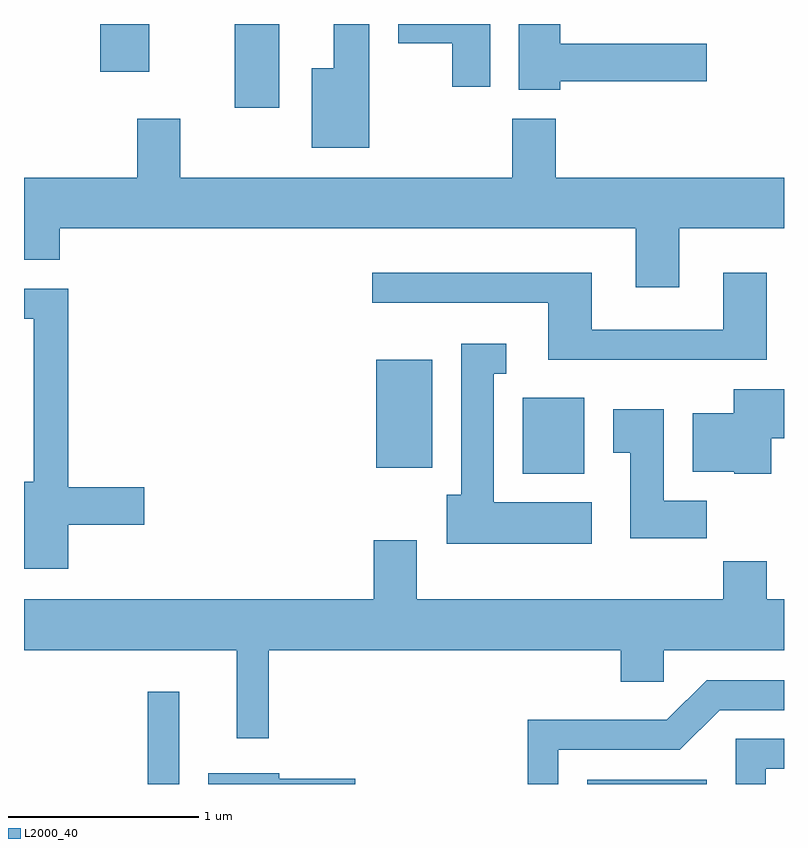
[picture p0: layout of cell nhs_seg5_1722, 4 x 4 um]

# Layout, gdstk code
import gdstk
lib = gdstk.Library(unit=1e-6, precision=1e-09)
def R(c, l, rs):  # rectangles x0, y0, x1, y1
    for r in rs: c.add(gdstk.rectangle(r[:2], r[2:], *l))
def P(c, l, *ps):  # polygons
    for p in ps: c.add(gdstk.Polygon(p, *l))
L2000_40 = (2000, 40)

nhs_seg5_1722 = lib.new_cell('nhs_seg5_1722')
R(nhs_seg5_1722, L2000_40, [(236.261,1476.072,236.429,1476.558), (238.576,1476.072,239.204,1476.094), (238.236,1477.706,238.559,1478.104), (237.466,1477.736,237.759,1478.304), (236.721,1479.631,236.954,1480.072), (236.011,1479.821,236.269,1480.072)])
P(nhs_seg5_1722, L2000_40, [(238.434,1479.771),(239.204,1479.771),(239.204,1479.969),(238.434,1479.969),(238.434,1480.072),(238.216,1480.072),(238.216,1479.726),(238.434,1479.726)],
  [(237.429,1480.072),(237.241,1480.072),(237.241,1479.839),(237.126,1479.839),(237.126,1479.421),(237.429,1479.421)],
  [(238.064,1480.072),(237.581,1480.072),(237.581,1479.971),(237.866,1479.971),(237.866,1479.741),(238.064,1479.741)],
  [(239.059,1478.996),(239.611,1478.996),(239.611,1479.264),(238.409,1479.264),(238.409,1479.574),(238.181,1479.574),(238.181,1479.264),(236.434,1479.264),(236.434,1479.574),(236.206,1479.574),(236.206,1479.264),(235.611,1479.264),(235.611,1478.831),(235.799,1478.831),(235.799,1478.996),(238.831,1478.996),(238.831,1478.686),(239.059,1478.686)],
  [(239.519,1478.764),(239.291,1478.764),(239.291,1478.464),(238.599,1478.464),(238.599,1478.764),(237.443,1478.764),(237.443,1478.606),(238.371,1478.606),(238.371,1478.306),(239.519,1478.306)],
  [(235.844,1477.436),(236.244,1477.436),(236.244,1477.634),(235.844,1477.634),(235.844,1478.679),(235.611,1478.679),(235.611,1478.521),(235.661,1478.521),(235.661,1477.664),(235.611,1477.664),(235.611,1477.206),(235.844,1477.206)],
  [(238.599,1477.554),(238.084,1477.554),(238.084,1478.231),(238.148,1478.231),(238.148,1478.389),(237.911,1478.389),(237.911,1477.594),(237.836,1477.594),(237.836,1477.336),(238.599,1477.336)],
  [(239.544,1477.891),(239.611,1477.891),(239.611,1478.149),(239.346,1478.149),(239.346,1478.024),(239.131,1478.024),(239.131,1477.716),(239.35,1477.716),(239.35,1477.706),(239.544,1477.706)],
  [(239.204,1477.564),(238.979,1477.564),(238.979,1478.044),(238.711,1478.044),(238.711,1477.816),(238.801,1477.816),(238.801,1477.366),(239.204,1477.366)],
  [(236.899,1476.776),(238.751,1476.776),(238.751,1476.611),(238.979,1476.611),(238.979,1476.776),(239.611,1476.776),(239.611,1477.044),(239.519,1477.044),(239.519,1477.244),(239.291,1477.244),(239.291,1477.044),(237.679,1477.044),(237.679,1477.354),(237.451,1477.354),(237.451,1477.044),(235.611,1477.044),(235.611,1476.776),(236.731,1476.776),(236.731,1476.313),(236.899,1476.313)],
  [(238.424,1476.251),(239.062,1476.251),(239.272,1476.461),(239.611,1476.461),(239.611,1476.619),(239.204,1476.619),(238.994,1476.409),(238.261,1476.409),(238.261,1476.072),(238.424,1476.072)],
  [(239.514,1476.151),(239.611,1476.151),(239.611,1476.309),(239.356,1476.309),(239.356,1476.072),(239.514,1476.072)],
  [(237.354,1476.099),(236.954,1476.099),(236.954,1476.129),(236.581,1476.129),(236.581,1476.072),(237.354,1476.072)])

lib.write_gds('nhs_seg5_1722.gds')
